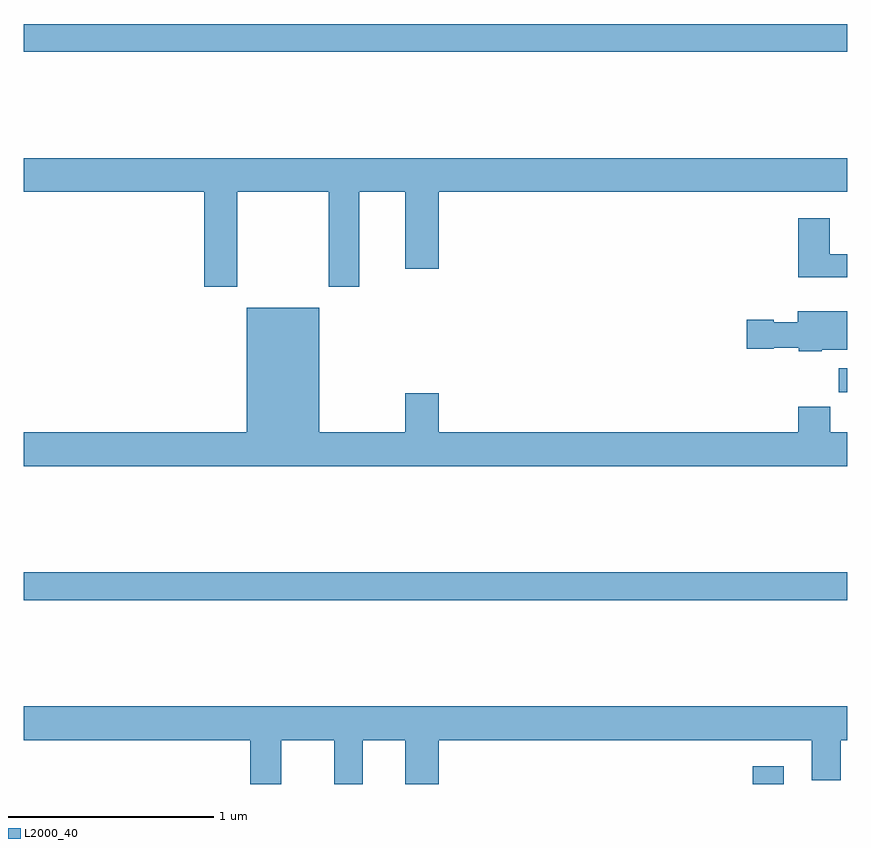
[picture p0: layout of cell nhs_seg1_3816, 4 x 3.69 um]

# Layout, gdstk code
import gdstk
lib = gdstk.Library(unit=1e-6, precision=1e-09)
def R(c, l, rs):  # rectangles x0, y0, x1, y1
    for r in rs: c.add(gdstk.rectangle(r[:2], r[2:], *l))
def P(c, l, *ps):  # polygons
    for p in ps: c.add(gdstk.Polygon(p, *l))
L2000_40 = (2000, 40)

nhs_seg1_3816 = lib.new_cell('nhs_seg1_3816')
R(nhs_seg1_3816, L2000_40, [(322.541,538.199,322.693,538.285), (319,539.092,323,539.228), (322.96,540.102,323,540.22), (319,541.756,323,541.892)])
P(nhs_seg1_3816, L2000_40, [(320.037,541.076),(320.482,541.076),(320.482,540.615),(320.629,540.615),(320.629,541.076),(320.852,541.076),(320.852,540.702),(321.016,540.702),(321.016,541.076),(323,541.076),(323,541.24),(319,541.24),(319,541.076),(319.877,541.076),(319.877,540.615),(320.037,540.615)],
  [(323,540.772),(322.915,540.772),(322.915,540.949),(322.763,540.949),(322.763,540.662),(323,540.662)],
  [(323,539.908),(322.919,539.908),(322.919,540.032),(322.763,540.032),(322.763,539.908),(321.016,539.908),(321.016,540.097),(320.852,540.097),(320.852,539.908),(320.434,539.908),(320.434,540.514),(320.084,540.514),(320.084,539.908),(319,539.908),(319,539.744),(323,539.744)],
  [(322.878,540.308),(323,540.308),(323,540.496),(322.76,540.496),(322.76,540.442),(322.644,540.442),(322.644,540.455),(322.512,540.455),(322.512,540.313),(322.644,540.313),(322.644,540.32),(322.764,540.32),(322.764,540.302),(322.878,540.302)],
  [(320.251,538.412),(320.507,538.412),(320.507,538.199),(320.647,538.199),(320.647,538.412),(320.852,538.412),(320.852,538.199),(321.016,538.199),(321.016,538.412),(322.829,538.412),(322.829,538.218),(322.969,538.218),(322.969,538.412),(323,538.412),(323,538.576),(319,538.576),(319,538.412),(320.099,538.412),(320.099,538.199),(320.251,538.199)])

lib.write_gds('nhs_seg1_3816.gds')
